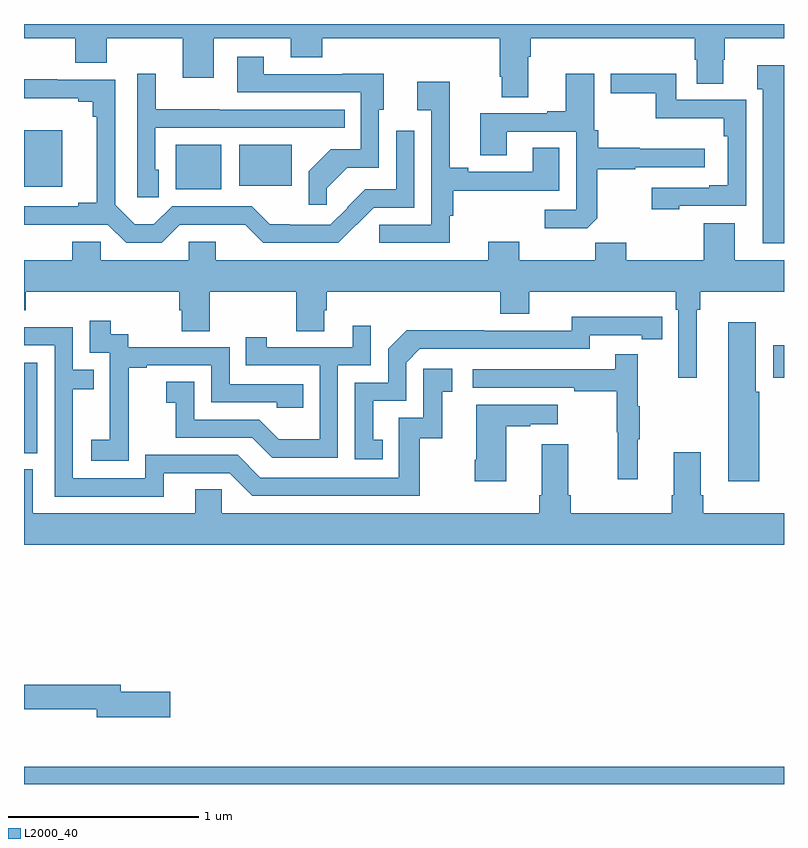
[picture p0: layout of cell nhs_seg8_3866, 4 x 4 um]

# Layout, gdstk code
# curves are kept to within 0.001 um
import gdstk
lib = gdstk.Library(unit=1e-6, precision=1e-09)
def R(c, l, rs):  # rectangles x0, y0, x1, y1
    for r in rs: c.add(gdstk.rectangle(r[:2], r[2:], *l))
def P(c, l, *ps):  # polygons
    for p in ps: c.add(gdstk.Polygon(p, *l))
L2000_40 = (2000, 40)

nhs_seg8_3866 = lib.new_cell('nhs_seg8_3866')
R(nhs_seg8_3866, L2000_40, [(349,1121.9,353,1121.992), (349,1123.641,349.071,1124.118), (352.944,1124.039,353,1124.209), (349.799,1125.029,350.038,1125.265), (349,1125.044,349.201,1125.34), (350.132,1125.05,350.41,1125.265)])
P(nhs_seg8_3866, L2000_40, [(352.529,1125.711),(352.541,1125.711),(352.541,1125.586),(352.681,1125.586),(352.681,1125.711),(352.689,1125.711),(352.689,1125.824),(353,1125.824),(353,1125.9),(349,1125.9),(349,1125.824),(349.271,1125.824),(349.271,1125.696),(349.435,1125.696),(349.435,1125.824),(349.835,1125.824),(349.835,1125.618),(349.999,1125.618),(349.999,1125.824),(350.405,1125.824),(350.405,1125.725),(350.569,1125.725),(350.569,1125.824),(351.503,1125.824),(351.503,1125.622),(351.515,1125.622),(351.515,1125.514),(351.655,1125.514),(351.655,1125.728),(351.668,1125.728),(351.668,1125.824),(352.529,1125.824)],
  [(350.594,1125.036),(350.702,1125.144),(350.868,1125.144),(350.868,1125.45),(350.893,1125.45),(350.893,1125.638),(350.675,1125.638),(350.675,1125.636),(350.263,1125.636),(350.263,1125.727),(350.123,1125.727),(350.123,1125.54),(350.772,1125.54),(350.772,1125.24),(350.615,1125.24),(350.499,1125.124),(350.499,1124.949),(350.594,1124.949)],
  [(353,1125.682),(352.859,1125.682),(352.859,1125.557),(352.889,1125.557),(352.889,1124.747),(353,1124.747)],
  [(352.449,1124.943),(352.8,1124.943),(352.8,1125.501),(352.434,1125.501),(352.434,1125.638),(352.089,1125.638),(352.089,1125.535),(352.326,1125.535),(352.326,1125.404),(352.684,1125.404),(352.684,1125.308),(352.704,1125.308),(352.704,1125.052),(352.607,1125.052),(352.607,1125.039),(352.305,1125.039),(352.305,1124.924),(352.449,1124.924)],
  [(352.017,1124.877),(352.017,1125.135),(352.217,1125.135),(352.217,1125.147),(352.582,1125.147),(352.582,1125.244),(352.241,1125.244),(352.241,1125.248),(352.022,1125.248),(352.022,1125.34),(352.002,1125.34),(352.002,1125.637),(351.851,1125.637),(351.851,1125.442),(351.755,1125.442),(351.755,1125.429),(351.401,1125.429),(351.401,1125.208),(351.541,1125.208),(351.541,1125.333),(351.906,1125.333),(351.906,1124.922),(351.741,1124.922),(351.741,1124.826),(351.965,1124.826)],
  [(349.708,1125.132),(349.692,1125.132),(349.692,1125.354),(350.687,1125.354),(350.687,1125.45),(350.027,1125.45),(350.027,1125.451),(349.693,1125.451),(349.693,1125.637),(349.596,1125.637),(349.596,1124.989),(349.708,1124.989)],
  [(349.821,1124.844),(350.165,1124.843),(350.259,1124.748),(350.653,1124.748),(350.841,1124.934),(351.054,1124.934),(351.054,1125.337),(350.958,1125.337),(350.958,1125.03),(350.795,1125.03),(350.701,1124.936),(350.703,1124.934),(350.613,1124.844),(350.398,1124.844),(350.398,1124.846),(350.294,1124.846),(350.199,1124.94),(349.779,1124.94),(349.684,1124.845),(349.583,1124.845),(349.479,1124.949),(349.479,1125.606),(349.175,1125.606),(349.175,1125.608),(349,1125.608),(349,1125.509),(349.286,1125.509),(349.286,1125.49),(349.363,1125.49),(349.363,1125.413),(349.382,1125.413),(349.382,1124.96),(349.286,1124.96),(349.286,1124.94),(349,1124.94),(349,1124.843),(349.442,1124.844),(349.538,1124.748),(349.725,1124.748)],
  [(351.242,1124.891),(351.26,1124.891),(351.26,1125.022),(351.817,1125.022),(351.817,1125.248),(351.677,1125.248),(351.677,1125.123),(351.337,1125.123),(351.337,1125.143),(351.241,1125.143),(351.241,1125.595),(351.069,1125.595),(351.069,1125.446),(351.144,1125.446),(351.144,1124.844),(350.871,1124.844),(350.871,1124.748),(351.242,1124.748)],
  [(352.54,1124.396),(352.559,1124.396),(352.559,1124.492),(353,1124.492),(353,1124.656),(352.741,1124.656),(352.741,1124.851),(352.577,1124.851),(352.577,1124.656),(352.171,1124.656),(352.171,1124.749),(352.007,1124.749),(352.007,1124.656),(351.607,1124.656),(351.607,1124.755),(351.443,1124.755),(351.443,1124.656),(350.008,1124.656),(350.008,1124.754),(349.866,1124.754),(349.866,1124.656),(349.404,1124.656),(349.404,1124.754),(349.253,1124.754),(349.253,1124.656),(349,1124.656),(349,1124.393),(349.01,1124.393),(349.01,1124.492),(349.817,1124.492),(349.817,1124.394),(349.829,1124.394),(349.829,1124.284),(349.977,1124.284),(349.977,1124.492),(350.434,1124.492),(350.434,1124.284),(350.581,1124.284),(350.581,1124.394),(350.594,1124.394),(350.594,1124.492),(351.506,1124.492),(351.506,1124.375),(351.658,1124.375),(351.658,1124.492),(352.43,1124.492),(352.43,1124.396),(352.443,1124.396),(352.443,1124.037),(352.54,1124.037)],
  [(350.888,1123.713),(350.839,1123.713),(350.839,1123.917),(351.012,1123.917),(351.012,1124.118),(351.084,1124.19),(351.978,1124.19),(351.978,1124.262),(352.25,1124.262),(352.25,1124.242),(352.358,1124.242),(352.358,1124.358),(351.882,1124.359),(351.882,1124.286),(351.422,1124.286),(351.422,1124.288),(351.014,1124.288),(350.916,1124.19),(350.916,1124.013),(350.742,1124.013),(350.742,1123.608),(350.888,1123.608)],
  [(349.551,1123.807),(349.55,1123.807),(349.55,1124.091),(349.645,1124.091),(349.645,1124.103),(349.986,1124.103),(349.986,1123.908),(350.331,1123.908),(350.331,1123.881),(350.471,1123.881),(350.471,1124.004),(350.082,1124.004),(350.082,1124.199),(349.548,1124.199),(349.548,1124.268),(349.456,1124.268),(349.456,1124.338),(349.347,1124.338),(349.347,1124.169),(349.452,1124.169),(349.452,1123.94),(349.451,1123.94),(349.451,1123.711),(349.353,1123.711),(349.353,1123.601),(349.551,1123.601)],
  [(352.87,1123.965),(352.852,1123.965),(352.852,1124.329),(352.706,1124.329),(352.706,1123.494),(352.87,1123.494)],
  [(350.652,1124.103),(350.826,1124.103),(350.826,1124.311),(350.729,1124.311),(350.729,1124.199),(350.278,1124.199),(350.278,1124.251),(350.167,1124.251),(350.167,1124.103),(350.556,1124.103),(350.556,1123.714),(350.342,1123.714),(350.238,1123.818),(349.896,1123.818),(349.896,1124.017),(349.749,1124.017),(349.749,1123.907),(349.798,1123.907),(349.798,1123.722),(350.201,1123.722),(350.306,1123.617),(350.652,1123.617)],
  [(349.735,1123.536),(350.082,1123.536),(350.202,1123.416),(351.082,1123.416),(351.082,1123.719),(351.2,1123.719),(351.2,1123.965),(351.253,1123.965),(351.253,1124.086),(351.102,1124.086),(351.102,1123.827),(350.973,1123.827),(350.973,1123.512),(350.244,1123.512),(350.124,1123.632),(349.638,1123.632),(349.638,1123.509),(349.257,1123.509),(349.257,1123.978),(349.367,1123.978),(349.367,1124.079),(349.257,1124.079),(349.257,1124.304),(349,1124.304),(349,1124.208),(349.161,1124.208),(349.161,1123.413),(349.735,1123.413)],
  [(352.229,1123.715),(352.24,1123.715),(352.24,1123.889),(352.229,1123.889),(352.229,1124.161),(352.111,1124.161),(352.111,1124.082),(351.363,1124.082),(351.363,1123.986),(351.895,1123.986),(351.895,1123.966),(352.119,1123.966),(352.119,1123.752),(352.126,1123.752),(352.126,1123.503),(352.229,1123.503)],
  [(351.538,1123.783),(351.665,1123.783),(351.665,1123.793),(351.808,1123.793),(351.808,1123.897),(351.38,1123.897),(351.38,1123.606),(351.373,1123.606),(351.373,1123.494),(351.538,1123.494)],
  [(353,1123.324),(352.574,1123.324),(352.574,1123.42),(352.561,1123.42),(352.561,1123.645),(352.421,1123.645),(352.421,1123.42),(352.409,1123.42),(352.409,1123.324),(351.878,1123.324),(351.878,1123.42),(351.865,1123.42),(351.865,1123.687),(351.725,1123.687),(351.725,1123.42),(351.713,1123.42),(351.713,1123.324),(350.04,1123.324),(350.04,1123.451),(349.901,1123.451),(349.901,1123.324),(349.045,1123.324),(349.045,1123.556),(349,1123.556),(349,1123.16),(353,1123.16)],
  [(349.771,1122.386),(349.51,1122.386),(349.51,1122.422),(349,1122.422),(349,1122.294),(349.382,1122.294),(349.382,1122.251),(349.771,1122.251)])

lib.write_gds('nhs_seg8_3866.gds')
